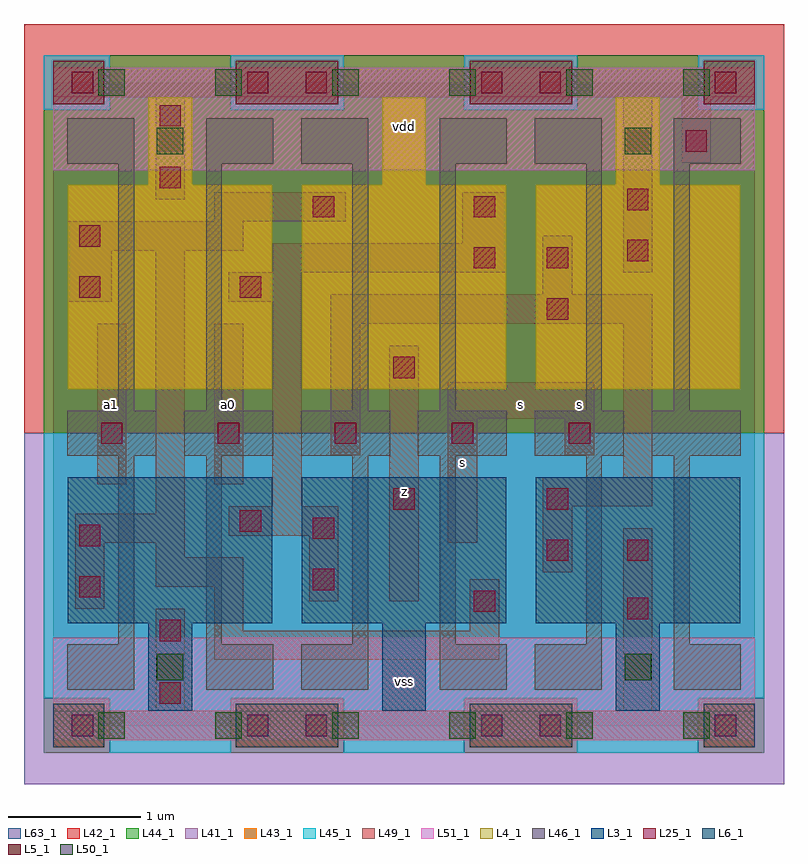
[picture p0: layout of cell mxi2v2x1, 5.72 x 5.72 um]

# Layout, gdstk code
import gdstk
lib = gdstk.Library(unit=1e-6, precision=1e-09)
def R(c, l, rs):  # rectangles x0, y0, x1, y1
    for r in rs: c.add(gdstk.rectangle(r[:2], r[2:], *l))
def A(c, l, x, y, w, h, nx, ny, dx, dy):  # array of equal rectangles
    R(c, l, [(x+i*dx, y+j*dy, x+i*dx+w, y+j*dy+h) for i in range(nx) for j in range(ny)])
L3_1 = (3, 1)
L4_1 = (4, 1)
L5_1 = (5, 1)
L6_1 = (6, 1)
L25_1 = (25, 1)
L41_1 = (41, 1)
L42_1 = (42, 1)
L43_1 = (43, 1)
L44_1 = (44, 1)
L45_1 = (45, 1)
L46_1 = (46, 1)
L49_1 = (49, 1)
L50_1 = (50, 1)
L51_1 = (51, 1)
L63_1 = (63, 1)

mxi2v2x1 = lib.new_cell('mxi2v2x1')
A(mxi2v2x1, L3_1, 0.715, 0.11, 0.33, 0.66, 3, 1, 1.76, 0)
A(mxi2v2x1, L3_1, 0.11, 0.77, 1.54, 1.1, 3, 1, 1.76, 0)
A(mxi2v2x1, L4_1, 0.11, 2.53, 1.54, 1.54, 3, 1, 1.76, 0)
A(mxi2v2x1, L4_1, 0.715, 4.07, 0.33, 0.66, 3, 1, 1.76, 0)
R(mxi2v2x1, L5_1, [(0,4.675,0.385,5.005), (1.375,4.675,2.145,5.005), (3.135,4.675,3.905,5.005), (4.895,4.675,5.28,5.005)])
R(mxi2v2x1, L6_1, [(0,-0.165,0.385,0.165), (1.375,-0.165,2.145,0.165), (3.135,-0.165,3.905,0.165), (4.895,-0.165,5.28,0.165)])
A(mxi2v2x1, L25_1, 0.36, 2.12, 0.16, 0.16, 5, 1, 0.88, 0)
R(mxi2v2x1, L25_1, [(0.14,-0.08,0.3,0.08), (1.46,-0.08,1.62,0.08), (1.9,-0.08,2.06,0.08), (3.22,-0.08,3.38,0.08), (3.66,-0.08,3.82,0.08), (4.98,-0.08,5.14,0.08), (0.8,0.165,0.96,0.325), (0.8,0.635,0.96,0.795), (4.32,0.8,4.48,0.96), (3.165,0.855,3.325,1.015), (0.195,0.965,0.355,1.125), (1.955,1.02,2.115,1.18), (3.715,1.24,3.875,1.4), (4.32,1.24,4.48,1.4), (0.195,1.35,0.355,1.51), (1.955,1.405,2.115,1.565), (1.405,1.46,1.565,1.62), (2.56,1.625,2.72,1.785), (3.715,1.625,3.875,1.785), (2.56,2.615,2.72,2.775), (3.715,3.055,3.875,3.215), (0.195,3.22,0.355,3.38), (1.405,3.22,1.565,3.38), (3.165,3.44,3.325,3.6), (3.715,3.44,3.875,3.6), (4.32,3.495,4.48,3.655), (0.195,3.605,0.355,3.765), (1.955,3.825,2.115,3.985), (3.165,3.825,3.325,3.985), (4.32,3.88,4.48,4.04), (0.8,4.045,0.96,4.205), (4.76,4.32,4.92,4.48), (0.8,4.51,0.96,4.67), (0.14,4.76,0.3,4.92), (1.46,4.76,1.62,4.92), (1.9,4.76,2.06,4.92), (3.22,4.76,3.38,4.92), (3.66,4.76,3.82,4.92), (4.98,4.76,5.14,4.92)])
R(mxi2v2x1, L41_1, [(-0.22,-0.44,5.5,2.2)])
R(mxi2v2x1, L42_1, [(-0.22,2.2,5.5,5.28)])
A(mxi2v2x1, L43_1, 0.715, 0.11, 0.33, 0.66, 3, 2, 1.76, 3.96)
A(mxi2v2x1, L43_1, 0.11, 0.77, 1.54, 1.1, 3, 1, 1.76, 0)
A(mxi2v2x1, L43_1, 0.11, 2.53, 1.54, 1.54, 3, 1, 1.76, 0)
R(mxi2v2x1, L43_1, [(0,-0.165,0.385,0.165), (1.375,-0.165,2.145,0.165), (3.135,-0.165,3.905,0.165), (4.895,-0.165,5.28,0.165), (0,4.675,0.385,5.005), (1.375,4.675,2.145,5.005), (3.135,4.675,3.905,5.005), (4.895,4.675,5.28,5.005)])
A(mxi2v2x1, L44_1, 0.425, 4.635, 0.91, 0.41, 3, 1, 1.76, 0)
R(mxi2v2x1, L44_1, [(-0.07,-0.205,0.425,0.205), (1.335,-0.205,2.185,0.205), (3.095,-0.205,3.945,0.205), (4.855,-0.205,5.35,0.205), (-0.07,2.2,5.35,4.635)])
A(mxi2v2x1, L45_1, 0.425, -0.205, 0.91, 0.41, 3, 1, 1.76, 0)
R(mxi2v2x1, L45_1, [(-0.07,0.205,5.35,2.2), (-0.07,4.635,0.425,5.045), (1.335,4.635,2.185,5.045), (3.095,4.635,3.945,5.045), (4.855,4.635,5.35,5.045)])
A(mxi2v2x1, L46_1, 0.105, 2.03, 0.67, 0.34, 6, 1, 0.88, 0)
R(mxi2v2x1, L46_1, [(0.105,0.27,0.61,0.61), (1.15,0.27,1.655,0.61), (1.865,0.27,2.37,0.61), (2.91,0.27,3.415,0.61), (3.625,0.27,4.13,0.61), (4.67,0.27,5.175,0.61), (0.49,0.61,0.61,2.03), (1.15,0.61,1.27,2.03), (2.25,0.61,2.37,2.03), (2.91,0.61,3.03,2.03), (4.01,0.61,4.13,2.03), (4.67,0.61,4.79,2.03), (0.49,2.37,0.61,4.23), (1.15,2.37,1.27,4.23), (2.25,2.37,2.37,4.23), (2.91,2.37,3.03,4.23), (4.01,2.37,4.13,4.23), (4.67,2.37,4.79,4.23), (0.105,4.23,0.61,4.57), (1.15,4.23,1.655,4.57), (1.865,4.23,2.37,4.57), (2.91,4.23,3.415,4.57), (3.625,4.23,4.13,4.57), (4.67,4.23,5.175,4.57)])
R(mxi2v2x1, L49_1, [(0,-0.11,5.28,0.11), (0.77,0.11,0.99,0.88), (4.29,0.11,4.51,1.485), (1.21,0.495,3.355,0.715), (1.21,0.715,1.43,1.045), (3.135,0.715,3.355,1.1), (0.165,0.88,0.385,1.375), (1.925,0.935,2.145,1.43), (2.53,0.935,2.75,2.86), (0.77,1.045,1.43,1.265), (3.685,1.155,3.905,1.65), (0.77,1.265,0.99,1.375), (0.165,1.375,0.99,1.595), (2.97,1.375,3.19,2.31), (1.32,1.43,2.145,1.65), (0.77,1.595,0.99,3.575), (1.65,1.65,1.87,3.19), (3.685,1.65,4.51,1.87), (0.33,1.815,0.55,3.025), (1.21,1.815,1.43,3.025), (4.29,1.87,4.51,3.025), (2.09,2.035,2.31,3.025), (3.85,2.035,4.07,2.31), (2.97,2.31,4.07,2.585), (2.09,3.025,4.51,3.245), (0.11,3.19,0.44,3.575), (1.32,3.19,1.87,3.41), (3.685,3.245,3.905,3.685), (1.65,3.41,3.41,3.63), (4.29,3.41,4.51,4.73), (0.11,3.575,1.43,3.795), (3.08,3.63,3.41,4.015), (1.21,3.795,2.2,4.015), (0.77,3.96,0.99,4.73), (4.73,4.235,4.95,4.73), (0,4.73,5.28,4.95)])
A(mxi2v2x1, L50_1, 0.34, -0.1, 0.2, 0.2, 6, 2, 0.88, 4.84)
R(mxi2v2x1, L50_1, [(0.78,0.34,0.98,0.54), (4.3,0.34,4.5,0.54), (0.78,4.3,0.98,4.5), (4.3,4.3,4.5,4.5)])
R(mxi2v2x1, L51_1, [(0,-0.11,5.28,0.66), (0,4.18,5.28,4.95)])
R(mxi2v2x1, L63_1, [(0,0,5.28,4.84)])
mxi2v2x1.add(gdstk.Label('a1', (0.44,2.42), layer=49, texttype=1))
mxi2v2x1.add(gdstk.Label('a0', (1.32,2.42), layer=49, texttype=1))
mxi2v2x1.add(gdstk.Label('z', (2.64,1.76), layer=49, texttype=1))
mxi2v2x1.add(gdstk.Label('s', (3.08,1.98), layer=49, texttype=1))
mxi2v2x1.add(gdstk.Label('s', (3.52,2.42), layer=49, texttype=1))
mxi2v2x1.add(gdstk.Label('s', (3.96,2.42), layer=49, texttype=1))
mxi2v2x1.add(gdstk.Label('vss', (2.64,0.33), layer=51, texttype=1))
mxi2v2x1.add(gdstk.Label('vdd', (2.64,4.51), layer=51, texttype=1))

lib.write_gds('mxi2v2x1.gds')
